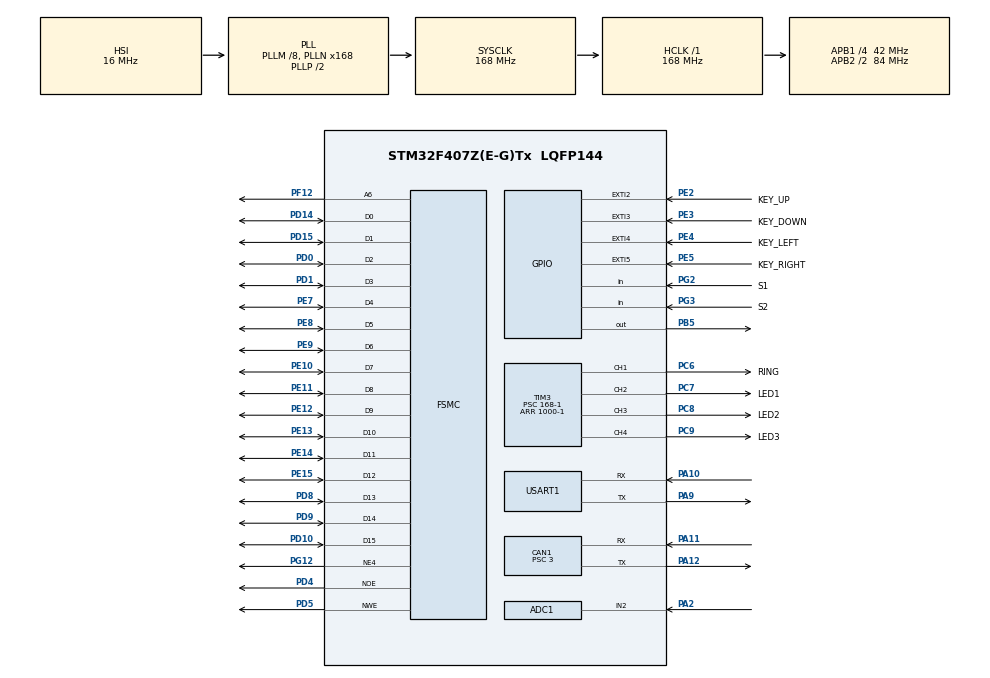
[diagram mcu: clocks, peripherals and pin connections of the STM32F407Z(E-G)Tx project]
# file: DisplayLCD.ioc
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ADC1.Channel-1\#ChannelRegularConversion=ADC_CHANNEL_2
ADC1.ContinuousConvMode=ENABLE
ADC1.DMAContinuousRequests=ENABLE
ADC1.NbrOfConversion=1
ADC1.NbrOfConversionFlag=1
ADC1.Rank-1\#ChannelRegularConversion=1
ADC1.SamplingTime-1\#ChannelRegularConversion=ADC_SAMPLETIME_3CYCLES
ADC1.ScanConvMode=ENABLE
ADC1.master=1
CAN1.ABOM=ENABLE
CAN1.BS1=CAN_BS1_9TQ
CAN1.BS2=CAN_BS2_4TQ
CAN1.CalculateTimeQuantum=71.42857142857143
CAN1.Prescaler=3
CAN1.TXFP=ENABLE
Dma.ADC1.0.Direction=DMA_PERIPH_TO_MEMORY
Dma.ADC1.0.FIFOMode=DMA_FIFOMODE_DISABLE
Dma.ADC1.0.Instance=DMA2_Stream0
Dma.ADC1.0.MemDataAlignment=DMA_MDATAALIGN_HALFWORD
Dma.ADC1.0.MemInc=DMA_MINC_ENABLE
Dma.ADC1.0.Mode=DMA_NORMAL
Dma.ADC1.0.PeriphDataAlignment=DMA_PDATAALIGN_HALFWORD
Dma.ADC1.0.PeriphInc=DMA_PINC_DISABLE
Dma.ADC1.0.Priority=DMA_PRIORITY_HIGH
Dma.Request0=ADC1
Dma.Request1=USART1_RX
Dma.Request2=USART1_TX
Dma.USART1_RX.1.Direction=DMA_PERIPH_TO_MEMORY
Dma.USART1_RX.1.FIFOMode=DMA_FIFOMODE_DISABLE
Dma.USART1_RX.1.Instance=DMA2_Stream2
Dma.USART1_RX.1.MemDataAlignment=DMA_MDATAALIGN_BYTE
Dma.USART1_RX.1.MemInc=DMA_MINC_ENABLE
Dma.USART1_RX.1.Mode=DMA_CIRCULAR
Dma.USART1_RX.1.PeriphDataAlignment=DMA_PDATAALIGN_BYTE
Dma.USART1_RX.1.PeriphInc=DMA_PINC_DISABLE
Dma.USART1_RX.1.Priority=DMA_PRIORITY_LOW
Dma.USART1_TX.2.Direction=DMA_MEMORY_TO_PERIPH
Dma.USART1_TX.2.FIFOMode=DMA_FIFOMODE_DISABLE
Dma.USART1_TX.2.Instance=DMA2_Stream7
Dma.USART1_TX.2.MemDataAlignment=DMA_MDATAALIGN_BYTE
Dma.USART1_TX.2.MemInc=DMA_MINC_ENABLE
Dma.USART1_TX.2.Mode=DMA_NORMAL
Dma.USART1_TX.2.PeriphDataAlignment=DMA_PDATAALIGN_BYTE
Dma.USART1_TX.2.PeriphInc=DMA_PINC_DISABLE
Dma.USART1_TX.2.Priority=DMA_PRIORITY_LOW
FSMC.AddressSetupTime1=9
FSMC.BusTurnAroundDuration1=0
FSMC.DataSetupTime1=31
FSMC.ExtendedAddressSetupTime1=8
FSMC.ExtendedBusTurnAroundDuration1=0
FSMC.ExtendedDataSetupTime1=9
FSMC.ExtendedMode1=FSMC_EXTENDED_MODE_ENABLE
Mcu.Family=STM32F4
Mcu.Name=STM32F407Z(E-G)Tx
Mcu.Package=LQFP144
NVIC.ADC_IRQn=true\:4\:0\:true\:false\:true\:true\:true
NVIC.CAN1_RX0_IRQn=true\:1\:0\:true\:false\:true\:true\:true
NVIC.CAN1_RX1_IRQn=true\:1\:0\:true\:false\:true\:true\:true
NVIC.CAN1_SCE_IRQn=true\:0\:0\:false\:false\:true\:true\:true
NVIC.DMA2_Stream0_IRQn=true\:0\:0\:false\:false\:true\:false\:true
NVIC.DMA2_Stream2_IRQn=true\:0\:0\:false\:false\:true\:false\:true
NVIC.DMA2_Stream7_IRQn=true\:0\:0\:false\:false\:true\:false\:true
NVIC.EXTI2_IRQn=true\:2\:0\:true\:false\:true\:true\:true
NVIC.EXTI3_IRQn=true\:2\:0\:true\:false\:true\:true\:true
NVIC.EXTI4_IRQn=true\:2\:0\:true\:false\:true\:true\:true
NVIC.EXTI9_5_IRQn=true\:2\:0\:true\:false\:true\:true\:true
NVIC.PriorityGroup=NVIC_PRIORITYGROUP_4
NVIC.USART1_IRQn=true\:3\:0\:true\:false\:true\:true\:true
PA10.Mode=Asynchronous
PA10.Signal=USART1_RX
PA11.Mode=Master
PA11.Signal=CAN1_RX
PA12.Mode=Master
PA12.Signal=CAN1_TX
PA2.Signal=ADCx_IN2
PA9.Mode=Asynchronous
PA9.Signal=USART1_TX
PB5.GPIO_ModeDefaultOutputPP=GPIO_MODE_OUTPUT_PP
PB5.GPIO_PuPd=GPIO_NOPULL
PB5.GPIO_Speed=GPIO_SPEED_FREQ_LOW
PB5.PinState=GPIO_PIN_RESET
PB5.Signal=GPIO_Output
PC6.GPIO_Label=RING
PC6.Signal=S_TIM3_CH1
PC7.GPIO_Label=LED1
PC7.Signal=S_TIM3_CH2
PC8.GPIO_Label=LED2
PC8.Signal=S_TIM3_CH3
PC9.GPIO_Label=LED3
PC9.Signal=S_TIM3_CH4
PD0.Signal=FSMC_D2_DA2
PD1.Signal=FSMC_D3_DA3
PD10.Signal=FSMC_D15_DA15
PD14.Signal=FSMC_D0_DA0
PD15.Signal=FSMC_D1_DA1
PD4.Signal=FSMC_NOE
PD5.Signal=FSMC_NWE
PD8.Signal=FSMC_D13_DA13
PD9.Signal=FSMC_D14_DA14
PE10.Signal=FSMC_D7_DA7
PE11.Signal=FSMC_D8_DA8
PE12.Signal=FSMC_D9_DA9
PE13.Signal=FSMC_D10_DA10
PE14.Signal=FSMC_D11_DA11
PE15.Signal=FSMC_D12_DA12
PE2.GPIO_Label=KEY_UP
PE2.GPIO_ModeDefaultEXTI=GPIO_MODE_IT_FALLING
PE2.GPIO_PuPd=GPIO_PULLUP
PE2.Signal=GPXTI2
PE3.GPIO_Label=KEY_DOWN
PE3.GPIO_ModeDefaultEXTI=GPIO_MODE_IT_FALLING
PE3.GPIO_PuPd=GPIO_PULLUP
PE3.Signal=GPXTI3
PE4.GPIO_Label=KEY_LEFT
PE4.GPIO_ModeDefaultEXTI=GPIO_MODE_IT_FALLING
PE4.GPIO_PuPd=GPIO_PULLUP
PE4.Signal=GPXTI4
PE5.GPIO_Label=KEY_RIGHT
PE5.GPIO_ModeDefaultEXTI=GPIO_MODE_IT_FALLING
PE5.GPIO_PuPd=GPIO_PULLUP
PE5.Signal=GPXTI5
PE7.Signal=FSMC_D4_DA4
PE8.Signal=FSMC_D5_DA5
PE9.Signal=FSMC_D6_DA6
PF12.Signal=FSMC_A6
PG12.Mode=NorPsramChipSelect4_1
PG12.Signal=FSMC_NE4
PG2.GPIO_Label=S1
PG2.GPIO_PuPd=GPIO_PULLUP
PG2.Signal=GPIO_Input
PG3.GPIO_Label=S2
PG3.GPIO_PuPd=GPIO_PULLUP
PG3.Signal=GPIO_Input
PH0-OSC_IN.Mode=HSE-External-Oscillator
PH0-OSC_IN.Signal=RCC_OSC_IN
PH1-OSC_OUT.Mode=HSE-External-Oscillator
PH1-OSC_OUT.Signal=RCC_OSC_OUT
ProjectManager.HeapSize=0x700
ProjectManager.StackSize=0x600
ProjectManager.TargetToolchain=EWARM V8
RCC.48MHZClocksFreq_Value=84000000
RCC.AHBFreq_Value=168000000
RCC.APB1CLKDivider=RCC_HCLK_DIV4
RCC.APB1Freq_Value=42000000
RCC.APB1TimFreq_Value=84000000
RCC.APB2CLKDivider=RCC_HCLK_DIV2
RCC.APB2Freq_Value=84000000
RCC.APB2TimFreq_Value=168000000
RCC.CortexFreq_Value=168000000
RCC.HCLKFreq_Value=168000000
RCC.HSE_VALUE=25000000
RCC.HSI_VALUE=16000000
RCC.LSE_VALUE=32768
RCC.PLLM=8
RCC.PLLN=168
RCC.SYSCLKFreq_VALUE=168000000
RCC.SYSCLKSource=RCC_SYSCLKSOURCE_PLLCLK
RCC.VCOOutputFreq_Value=336000000
SH.ADCx_IN2.0=ADC1_IN2,IN2
SH.FSMC_A6.0=FSMC_A6,A6_1
SH.FSMC_D0_DA0.0=FSMC_D0,16b-d1
SH.FSMC_D10_DA10.0=FSMC_D10,16b-d1
SH.FSMC_D11_DA11.0=FSMC_D11,16b-d1
SH.FSMC_D12_DA12.0=FSMC_D12,16b-d1
SH.FSMC_D13_DA13.0=FSMC_D13,16b-d1
SH.FSMC_D14_DA14.0=FSMC_D14,16b-d1
SH.FSMC_D15_DA15.0=FSMC_D15,16b-d1
SH.FSMC_D1_DA1.0=FSMC_D1,16b-d1
SH.FSMC_D2_DA2.0=FSMC_D2,16b-d1
SH.FSMC_D3_DA3.0=FSMC_D3,16b-d1
SH.FSMC_D4_DA4.0=FSMC_D4,16b-d1
SH.FSMC_D5_DA5.0=FSMC_D5,16b-d1
SH.FSMC_D6_DA6.0=FSMC_D6,16b-d1
SH.FSMC_D7_DA7.0=FSMC_D7,16b-d1
SH.FSMC_D8_DA8.0=FSMC_D8,16b-d1
SH.FSMC_D9_DA9.0=FSMC_D9,16b-d1
SH.FSMC_NOE.0=FSMC_NOE,Lcd1
SH.FSMC_NWE.0=FSMC_NWE,Lcd1
SH.S_TIM3_CH1.0=TIM3_CH1,PWM Generation1 CH1
SH.S_TIM3_CH2.0=TIM3_CH2,PWM Generation2 CH2
SH.S_TIM3_CH3.0=TIM3_CH3,PWM Generation3 CH3
SH.S_TIM3_CH4.0=TIM3_CH4,PWM Generation4 CH4
TIM3.Channel-PWM\ Generation1\ CH1=TIM_CHANNEL_1
TIM3.Channel-PWM\ Generation2\ CH2=TIM_CHANNEL_2
TIM3.Channel-PWM\ Generation3\ CH3=TIM_CHANNEL_3
TIM3.Channel-PWM\ Generation4\ CH4=TIM_CHANNEL_4
TIM3.Period=1000-1
TIM3.Prescaler=168-1
TIM3.Pulse-PWM\ Generation1\ CH1=500
TIM3.Pulse-PWM\ Generation2\ CH2=500
TIM3.Pulse-PWM\ Generation3\ CH3=500
TIM3.Pulse-PWM\ Generation4\ CH4=500
USART1.VirtualMode=VM_ASYNC
VP_CRC_VS_CRC.Mode=CRC_Activate
VP_TIM3_VS_ClockSourceINT.Mode=Internal
board=custom

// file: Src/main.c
/* USER CODE BEGIN Header */
/**
  ******************************************************************************
  * @file           : main.c
  * @brief          : Main program body
  ******************************************************************************
  * @attention
  *
  * <h2><center>&copy; Copyright (c) 2019 STMicroelectronics.
  * All rights reserved.</center></h2>
  *
  * This software component is licensed by ST under BSD 3-Clause license,
  * the "License"; You may not use this file except in compliance with the
  * License. You may obtain a copy of the License at:
  *                        opensource.org/licenses/BSD-3-Clause
  *
  ******************************************************************************
  */
/* USER CODE END Header */

#include "main.h"
#include "adc.h"
#include "can.h"
#include "crc.h"
#include "dma.h"
#include "tim.h"
#include "usart.h"
#include "gpio.h"
#include "fsmc.h"

/* USER CODE BEGIN Includes */
#include "ILI93xx.h"
#include "GUI.h"
#include "GUI_Frame.h"
#include "simplelib.h"
#include "ledpwm.h"
/* USER CODE END Includes */

/* USER CODE BEGIN PD */
uint32_t ADC_Value;
/* USER CODE END PD */

void SystemClock_Config(void);

int main(void)
{

  /* MCU Configuration--------------------------------------------------------*/

  /* Reset of all peripherals, Initializes the Flash interface and the Systick. */
  HAL_Init();

  /* Configure the system clock */
  SystemClock_Config();

  /* Initialize all configured peripherals */
  MX_GPIO_Init();
  MX_DMA_Init();
  MX_CAN1_Init();
  MX_CRC_Init();
  MX_FSMC_Init();
  MX_USART1_UART_Init();
  MX_ADC1_Init();
  MX_TIM3_Init();
  /* USER CODE BEGIN 2 */
  GUI_Init();//要加上这句话，Init
  simplelib_init(&huart1, &hcan1);
  //HAL_TIM_PWM_Start(&htim3, TIM_CHANNEL_1);
  HAL_TIM_PWM_Start(&htim3, TIM_CHANNEL_2);
  HAL_TIM_PWM_Start(&htim3, TIM_CHANNEL_3);
  HAL_TIM_PWM_Start(&htim3, TIM_CHANNEL_4);

  HAL_ADC_Start_DMA(&hadc1, (uint32_t*)&ADC_Value, 1);
  //GUI_SetBkColor(GUI_WHITE);
  //GUI_Clear();
  drawMainFrame();
  //LCD_Clear(GUI_WHITE);
  //drawCoordiantes(0,0,480,320);
  /* USER CODE END 2 */

  /* Infinite loop */
  while (1)
  {

    /* USER CODE BEGIN 3 */

    simplelib_run();
    LED_main();
    GUI_main();
    //TIM3->CCR1 = 0;
    //GUI_GotoXY(420,0);
    //GUI_DispFloat(ADC_Value,5);
    //GUI_DispDecShift(ADC_Value,10,5);
    //GUI_DispDecAt(ADC_Value, 200, 50, 5);
  }
  /* USER CODE END 3 */
}

void SystemClock_Config(void)
{
  RCC_OscInitTypeDef RCC_OscInitStruct = {0};
  RCC_ClkInitTypeDef RCC_ClkInitStruct = {0};

  /** Configure the main internal regulator output voltage
  */
  __HAL_RCC_PWR_CLK_ENABLE();
  __HAL_PWR_VOLTAGESCALING_CONFIG(PWR_REGULATOR_VOLTAGE_SCALE1);
  /** Initializes the CPU, AHB and APB busses clocks
  */
  RCC_OscInitStruct.OscillatorType = RCC_OSCILLATORTYPE_HSI;
  RCC_OscInitStruct.HSIState = RCC_HSI_ON;
  RCC_OscInitStruct.HSICalibrationValue = RCC_HSICALIBRATION_DEFAULT;
  RCC_OscInitStruct.PLL.PLLState = RCC_PLL_ON;
  RCC_OscInitStruct.PLL.PLLSource = RCC_PLLSOURCE_HSI;
  RCC_OscInitStruct.PLL.PLLM = 8;
  RCC_OscInitStruct.PLL.PLLN = 168;
  RCC_OscInitStruct.PLL.PLLP = RCC_PLLP_DIV2;
  RCC_OscInitStruct.PLL.PLLQ = 4;
  if (HAL_RCC_OscConfig(&RCC_OscInitStruct) != HAL_OK)
  {
    Error_Handler();
  }
  /** Initializes the CPU, AHB and APB busses clocks
  */
  RCC_ClkInitStruct.ClockType = RCC_CLOCKTYPE_HCLK|RCC_CLOCKTYPE_SYSCLK
                              |RCC_CLOCKTYPE_PCLK1|RCC_CLOCKTYPE_PCLK2;
  RCC_ClkInitStruct.SYSCLKSource = RCC_SYSCLKSOURCE_PLLCLK;
  RCC_ClkInitStruct.AHBCLKDivider = RCC_SYSCLK_DIV1;
  RCC_ClkInitStruct.APB1CLKDivider = RCC_HCLK_DIV4;
  RCC_ClkInitStruct.APB2CLKDivider = RCC_HCLK_DIV2;

  if (HAL_RCC_ClockConfig(&RCC_ClkInitStruct, FLASH_LATENCY_5) != HAL_OK)
  {
    Error_Handler();
  }
}

/* USER CODE BEGIN 4 */
/*
void HAL_SYSTICK_Callback(void){
  //static int time_1ms_cnt = 0;

  time_1ms_cnt++;
  if(time_1ms_cnt % 1000 == 0)
    {
      time_1s_cnt++;
    }
  if(time_1ms_cnt >= 60000)
    {
      time_1ms_cnt = 0;
    }
}*/
/* USER CODE END 4 */

void Error_Handler(void)
{
  /* USER CODE BEGIN Error_Handler_Debug */
  /* User can add his own implementation to report the HAL error return state */
  TIM3->CCR3 = 500;
  /* USER CODE END Error_Handler_Debug */
}

/************************ (C) COPYRIGHT STMicroelectronics *****END OF FILE****/
